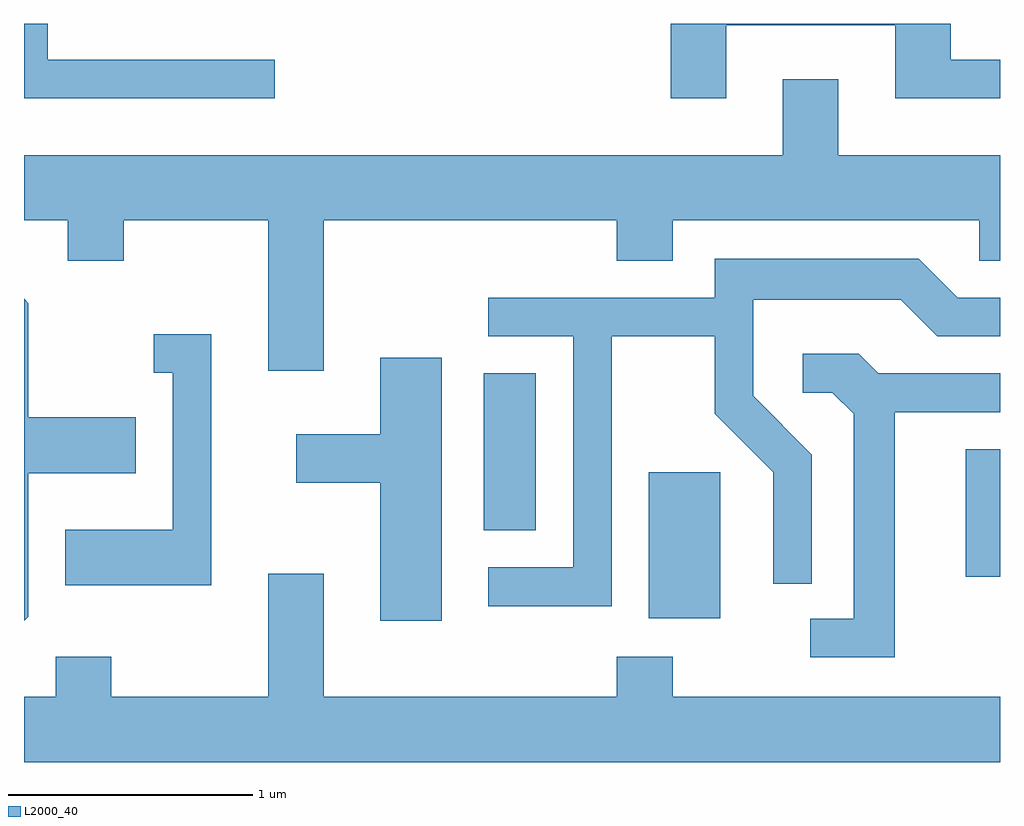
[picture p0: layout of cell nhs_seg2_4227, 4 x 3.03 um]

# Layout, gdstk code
import gdstk
lib = gdstk.Library(unit=1e-6, precision=1e-09)
def R(c, l, rs):  # rectangles x0, y0, x1, y1
    for r in rs: c.add(gdstk.rectangle(r[:2], r[2:], *l))
def P(c, l, *ps):  # polygons
    for p in ps: c.add(gdstk.Polygon(p, *l))
L2000_40 = (2000, 40)

nhs_seg2_4227 = lib.new_cell('nhs_seg2_4227')
R(nhs_seg2_4227, L2000_40, [(312.171,1033.366,312.464,1033.964), (313.471,1033.536,313.611,1034.059), (311.496,1033.726,311.709,1034.369)])
P(nhs_seg2_4227, L2000_40, [(312.489,1035.796),(313.181,1035.796),(313.181,1035.496),(313.611,1035.496),(313.611,1035.654),(313.409,1035.654),(313.409,1035.802),(312.261,1035.802),(312.261,1035.496),(312.489,1035.496)],
  [(310.638,1035.654),(309.709,1035.654),(309.709,1035.802),(309.611,1035.802),(309.611,1035.496),(310.638,1035.496)],
  [(309.611,1034.996),(309.791,1034.996),(309.791,1034.831),(310.019,1034.831),(310.019,1034.996),(310.611,1034.996),(310.611,1034.381),(310.839,1034.381),(310.839,1034.996),(312.041,1034.996),(312.041,1034.831),(312.269,1034.831),(312.269,1034.996),(313.526,1034.996),(313.526,1034.831),(313.611,1034.831),(313.611,1035.264),(312.949,1035.264),(312.949,1035.574),(312.721,1035.574),(312.721,1035.264),(309.611,1035.264)],
  [(312.019,1034.521),(312.441,1034.521),(312.441,1034.204),(312.681,1033.964),(312.681,1033.507),(312.839,1033.507),(312.839,1034.036),(312.599,1034.277),(312.599,1034.671),(313.204,1034.671),(313.354,1034.521),(313.611,1034.521),(313.611,1034.679),(313.437,1034.679),(313.277,1034.839),(312.441,1034.839),(312.441,1034.679),(311.513,1034.679),(311.513,1034.521),(311.861,1034.521),(311.861,1033.574),(311.513,1033.574),(311.513,1033.416),(312.019,1033.416)],
  [(309.629,1033.373),(309.629,1033.961),(310.069,1033.961),(310.069,1034.189),(309.629,1034.189),(309.629,1034.657),(309.611,1034.675),(309.611,1033.355)],
  [(310.379,1034.529),(310.143,1034.529),(310.143,1034.371),(310.221,1034.371),(310.221,1033.729),(309.781,1033.729),(309.781,1033.501),(310.379,1033.501)],
  [(313.179,1034.211),(313.611,1034.211),(313.611,1034.369),(313.112,1034.369),(313.032,1034.449),(312.803,1034.449),(312.803,1034.291),(312.924,1034.291),(313.011,1034.204),(313.011,1033.364),(312.833,1033.364),(312.833,1033.206),(313.179,1033.206)],
  [(311.324,1034.434),(311.071,1034.434),(311.071,1034.119),(310.726,1034.119),(310.726,1033.921),(311.071,1033.921),(311.071,1033.356),(311.324,1033.356)],
  [(313.611,1033.044),(312.269,1033.044),(312.269,1033.209),(312.041,1033.209),(312.041,1033.044),(310.839,1033.044),(310.839,1033.549),(310.611,1033.549),(310.611,1033.044),(309.969,1033.044),(309.969,1033.209),(309.741,1033.209),(309.741,1033.044),(309.611,1033.044),(309.611,1032.776),(313.611,1032.776)])

lib.write_gds('nhs_seg2_4227.gds')
